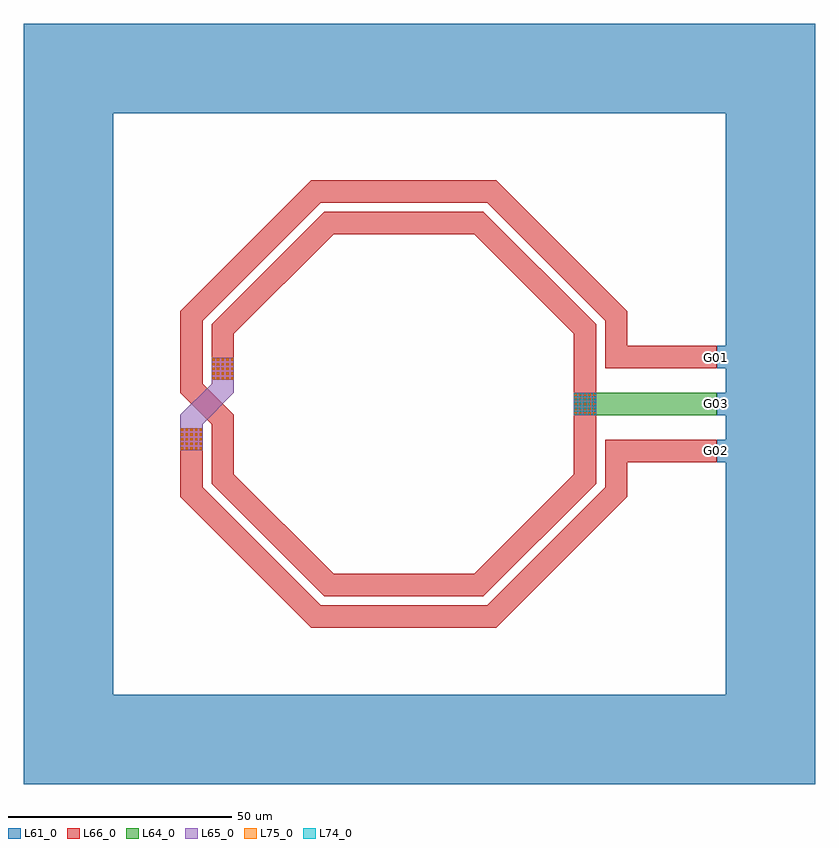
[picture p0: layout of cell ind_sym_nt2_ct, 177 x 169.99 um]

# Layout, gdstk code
import gdstk
lib = gdstk.Library(unit=1e-6, precision=1e-09)
def R(c, l, rs):  # rectangles x0, y0, x1, y1
    for r in rs: c.add(gdstk.rectangle(r[:2], r[2:], *l))
def A(c, l, x, y, w, h, nx, ny, dx, dy):  # array of equal rectangles
    R(c, l, [(x+i*dx, y+j*dy, x+i*dx+w, y+j*dy+h) for i in range(nx) for j in range(ny)])
def P(c, l, *ps):  # polygons
    for p in ps: c.add(gdstk.Polygon(p, *l))
L61_0 = (61, 0)
L64_0 = (64, 0)
L65_0 = (65, 0)
L66_0 = (66, 0)
L74_0 = (74, 0)
L75_0 = (75, 0)

ind_sym_nt2_ct = lib.new_cell('ind_sym_nt2_ct')
A(ind_sym_nt2_ct, L61_0, 70, -13, 2, 5, 1, 3, 0, 10.5)
R(ind_sym_nt2_ct, L61_0, [(-85,-84.995,-65,84.995), (-65,-84.995,72,-64.995), (72,-84.995,92,84.995), (-65,64.995,72,84.995)])
R(ind_sym_nt2_ct, L64_0, [(38,-2.5,70,2.5), (38,-2.5,43,2.5)])
R(ind_sym_nt2_ct, L65_0, [(-50,-10.37,-45,-5.37), (38,-2.5,43,2.5), (-43,5.37,-38,10.37)])
P(ind_sym_nt2_ct, L65_0, [(-50,-5.37),(-50,-2.445),(-43,4.555),(-43,5.37),(-38,5.37),(-38,2.475),(-45,-4.525),(-45,-5.37)])
R(ind_sym_nt2_ct, L66_0, [(50,-13,70,-8), (-50,-10.37,-45,-5.37), (-43,-10.37,-38,-5.37), (38,-2.5,43,2.5), (-50,5.37,-45,10.37), (-43,5.37,-38,10.37), (50,8,70,13)])
P(ind_sym_nt2_ct, L66_0, [(-50,5.37),(-50,20.705),(-20.71,49.995),(0,49.995),(0,44.995),(-18.63,44.995),(-45,18.625),(-45,5.37)],
  [(45,8),(45,18.625),(18.63,44.995),(0,44.995),(0,49.995),(20.71,49.995),(50,20.705),(50,8)],
  [(-20.71,-49.995),(-50,-20.705),(-50,-5.37),(-45,-5.37),(-45,-18.625),(-18.63,-44.995),(0,-44.995),(0,-49.995)],
  [(0,-49.995),(0,-44.995),(18.63,-44.995),(45,-18.625),(45,-8),(50,-8),(50,-20.705),(20.71,-49.995)],
  [(-43,-5.37),(-43,-4.525),(-50,2.475),(-50,5.37),(-45,5.37),(-45,4.555),(-38,-2.445),(-38,-5.37)],
  [(-43,5.37),(-43,17.795),(-17.81,42.985),(0,42.985),(0,37.985),(-15.73,37.985),(-38,15.715),(-38,5.37)],
  [(38,0),(38,15.715),(15.73,37.985),(0,37.985),(0,42.985),(17.81,42.985),(43,17.795),(43,0)],
  [(-17.81,-42.985),(-43,-17.795),(-43,-5.37),(-38,-5.37),(-38,-15.715),(-15.73,-37.985),(0,-37.985),(0,-42.985)],
  [(0,-42.985),(0,-37.985),(15.73,-37.985),(38,-15.715),(38,0),(43,0),(43,-17.795),(17.81,-42.985)])
A(ind_sym_nt2_ct, L74_0, 38.075, -2.425, 0.3, 0.3, 8, 8, 0.65, 0.65)
A(ind_sym_nt2_ct, L75_0, -49.85, -10.22, 0.5, 0.5, 5, 5, 1.05, 1.05)
A(ind_sym_nt2_ct, L75_0, 38.15, -2.35, 0.5, 0.5, 5, 5, 1.05, 1.05)
A(ind_sym_nt2_ct, L75_0, -42.85, 5.52, 0.5, 0.5, 5, 5, 1.05, 1.05)
ind_sym_nt2_ct.add(gdstk.Label('G01', (70,10.5), layer=61, texttype=2))
ind_sym_nt2_ct.add(gdstk.Label('G02', (70,-10.5), layer=61, texttype=2))
ind_sym_nt2_ct.add(gdstk.Label('G03', (70,0), layer=61, texttype=2))
ind_sym_nt2_ct.add(gdstk.Label('P1', (70,10.5), layer=66, texttype=2))
ind_sym_nt2_ct.add(gdstk.Label('N1', (70,-10.5), layer=66, texttype=2))
ind_sym_nt2_ct.add(gdstk.Label('CT', (70,0), layer=64, texttype=2))

lib.write_gds('ind_sym_nt2_ct.gds')
